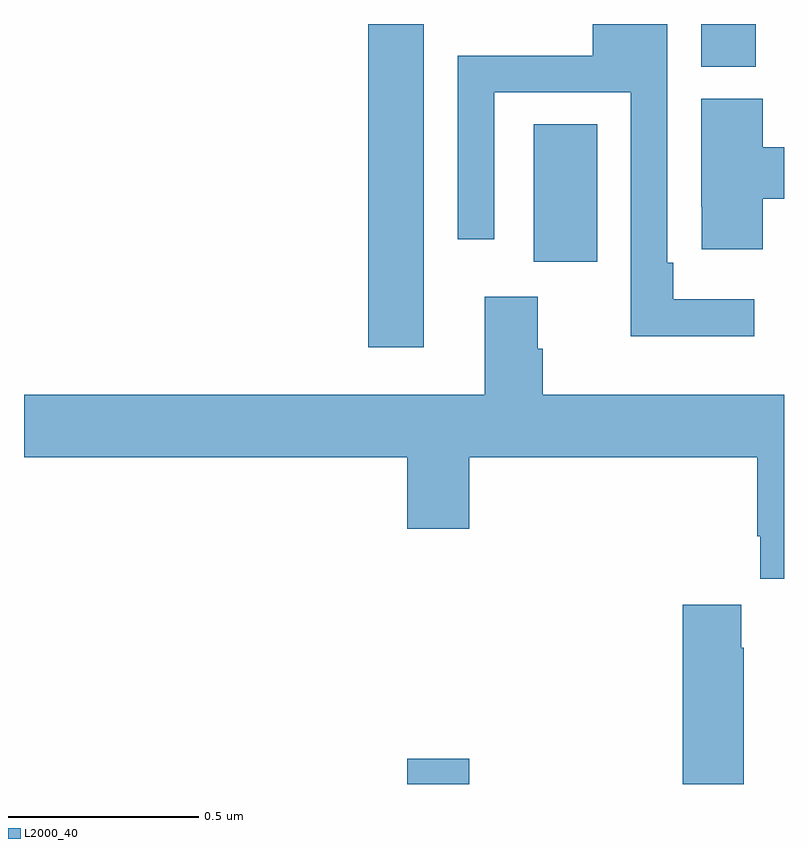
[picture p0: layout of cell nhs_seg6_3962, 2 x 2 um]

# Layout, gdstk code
import gdstk
lib = gdstk.Library(unit=1e-6, precision=1e-09)
def R(c, l, rs):  # rectangles x0, y0, x1, y1
    for r in rs: c.add(gdstk.rectangle(r[:2], r[2:], *l))
def P(c, l, *ps):  # polygons
    for p in ps: c.add(gdstk.Polygon(p, *l))
L2000_40 = (2000, 40)

nhs_seg6_3962 = lib.new_cell('nhs_seg6_3962')
R(nhs_seg6_3962, L2000_40, [(165.008,922.5,165.172,922.567), (164.906,923.649,165.052,924.5), (165.341,923.874,165.508,924.236), (165.782,924.388,165.926,924.5)])
P(nhs_seg6_3962, L2000_40, [(165.922,923.776),(165.709,923.776),(165.709,923.872),(165.693,923.872),(165.693,924.5),(165.497,924.5),(165.497,924.417),(165.141,924.417),(165.141,923.934),(165.237,923.934),(165.237,924.321),(165.597,924.321),(165.597,923.678),(165.922,923.678)],
  [(165.944,924.04),(166,924.04),(166,924.176),(165.944,924.176),(165.944,924.303),(165.782,924.303),(165.782,924.019),(165.783,924.019),(165.783,923.907),(165.944,923.907)],
  [(166,923.524),(165.365,923.524),(165.365,923.645),(165.352,923.645),(165.352,923.782),(165.212,923.782),(165.212,923.524),(164,923.524),(164,923.36),(165.008,923.36),(165.008,923.172),(165.172,923.172),(165.172,923.36),(165.929,923.36),(165.929,923.152),(165.938,923.152),(165.938,923.04),(166,923.04)],
  [(165.894,922.859),(165.887,922.859),(165.887,922.972),(165.734,922.972),(165.734,922.5),(165.894,922.5)])

lib.write_gds('nhs_seg6_3962.gds')
